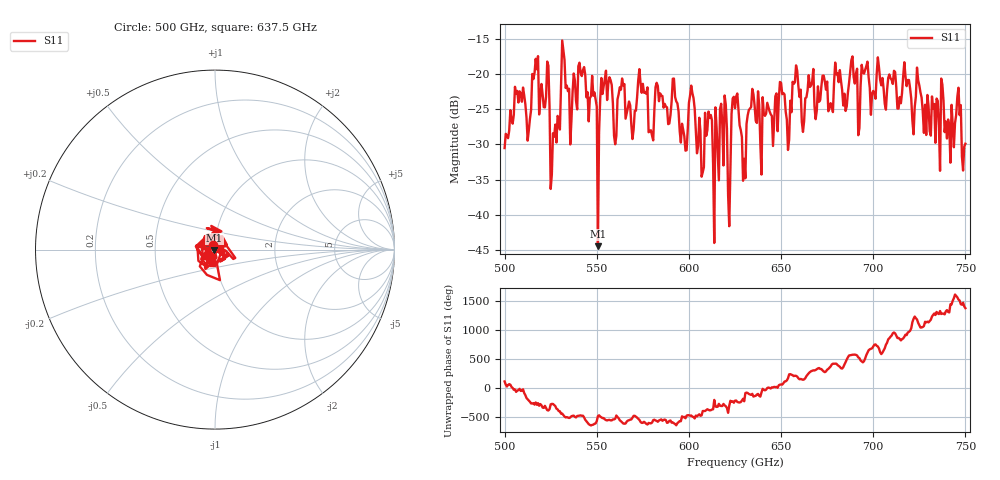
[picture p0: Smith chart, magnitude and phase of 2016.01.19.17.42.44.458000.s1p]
!Created with skrf (http://scikit-rf.org).
# GHz S RI R 50.0
!freq ReS11 ImS11
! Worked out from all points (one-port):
!   401 points, 500 GHz to 750 GHz, reference 50 ohm
!   lowest |S11| = -44.4 dB at 550.6 GHz (marker M1), VSWR 1.01, Z = 49.7 - j0.493 ohm
!   |S11| at or under -10 dB: start of sweep to end of sweep
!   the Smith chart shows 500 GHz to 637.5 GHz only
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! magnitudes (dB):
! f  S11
! 500 GHz  -30.5
! 506.9 GHz  -22.4
! 513.1 GHz  -28.0
! 516.9 GHz  -17.9
! 523.1 GHz  -18.3
! 526.2 GHz  -28.4
! 531.2 GHz  -15.3
! 535.6 GHz  -30.0
! 541.9 GHz  -20.3
! 550.6 GHz  -44.4
! 553.8 GHz  -21.7
! 560 GHz  -30.0
! 562.5 GHz  -21.9
! 573.8 GHz  -21.3
! 579.4 GHz  -28.0
! 593.8 GHz  -24.2
! 615 GHz  -27.5
! 618.8 GHz  -33.0
! 621.9 GHz  -41.6
! 625 GHz  -24.9
! 629.4 GHz  -35.1
! 633.8 GHz  -24.7
! 656.2 GHz  -21.1
! 687.5 GHz  -19.6
! 718.8 GHz  -20.9
! 740.6 GHz  -26.5
! 746.2 GHz  -22.0
! 750 GHz  -29.9
